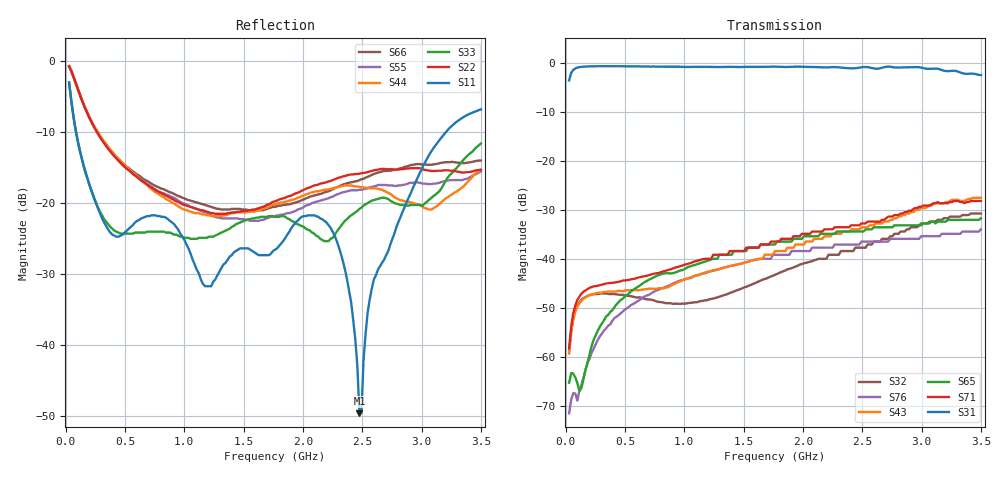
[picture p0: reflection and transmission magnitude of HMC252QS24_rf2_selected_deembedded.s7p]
!Hittite Microwave Corporation
!12 Elizabeth Drive
!Chelmsford, MA 01824
!Tel: 978-250-3343
!Fax: 978-250-3373
!Device: HMC252QS24, DC-3 GHz GaAS MMIC SP6T Non-Reflective Switch in 24-lead QSOP package
!Misc: Port 1 = RFCom, Port 2 = RF1, Port 3 = RF2, Port 4 = RF3, Port 5 = RF4, Port 6 = RF5, Port 7 = RF6, RF2 selected, Vdd=+5V
# MHZ S MA R 50
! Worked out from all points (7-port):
!   201 points, 30 MHz to 3.5 GHz, reference 50 ohm
!   strongest paths, dB at 30 MHz, 897.5 MHz, 1.765 GHz, 2.632 GHz, 3.5 GHz:
!     S31: -3.5, -0.7, -0.7, -1.1, -2.4
!     S71: -58.3, -42.0, -36.5, -32.4, -28.2
!     S65: -65.3, -43.0, -37.1, -33.6, -31.7
!     S43: -59.4, -45.4, -38.4, -32.8, -27.5
!     S76: -71.6, -45.1, -39.2, -36.5, -34.0
!     S32: -58.9, -49.2, -43.3, -36.5, -30.8
!   lowest |S11| = -49.6 dB at 2.476 GHz (marker M1), VSWR 1.01, Z = 49.9 + j0.32 ohm
!   |S11| at or under -10 dB: 88.87 MHz to 3.205 GHz (3.117 GHz wide, 189 % of centre)
